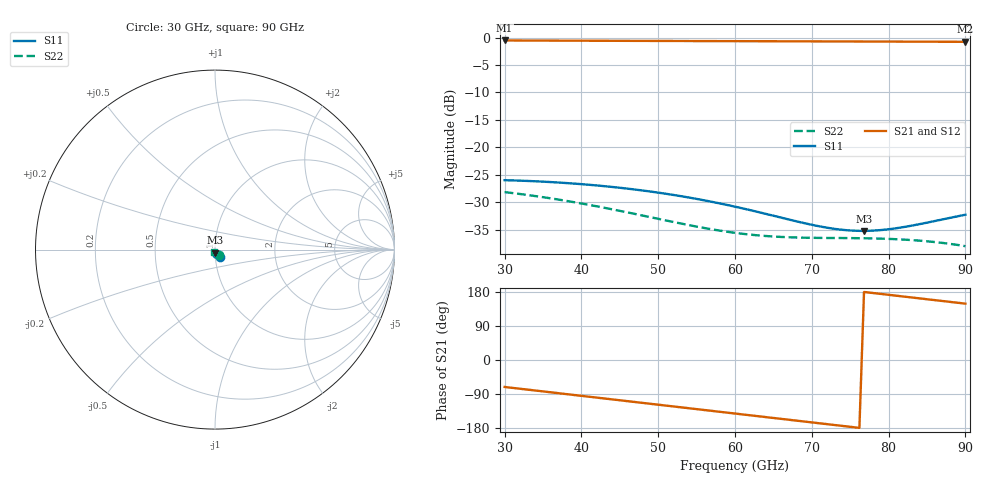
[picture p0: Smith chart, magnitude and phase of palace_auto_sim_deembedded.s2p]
! Created with skrf 1.11.0 (http://scikit-rf.org).
# GHz S DB R 50.0
!freq dBS11 angS11 dBS21 angS21 dBS12 angS12 dBS22 angS22
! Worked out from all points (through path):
!   101 points, 30 GHz to 90 GHz, reference 50 ohm
!   highest |S21| = -0.51 dB at 30 GHz (marker M1); lowest = -0.8 dB at 90 GHz (marker M2)
!   group delay of S21, straight-line fit = 6.49 ps
!   lowest |S11| = -35.2 dB at 76.8 GHz (marker M3), VSWR 1.04, Z = 50 - j1.73 ohm
!   |S11| at or under -10 dB: start of sweep to end of sweep
!   |S22| runs from -38.0 to -28.2 dB; largest |S21 - S12| = 1.1e-14
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30  -25.99 -57.5  -0.51 -71.2  -0.51 -71.2  -28.16 -54.0
33  -26.13 -64.3  -0.53 -78.2  -0.53 -78.2  -28.69 -60.1
35.4  -26.28 -69.6  -0.54 -83.8  -0.54 -83.8  -29.17 -64.8
37.8  -26.49 -74.8  -0.55 -89.4  -0.55 -89.4  -29.70 -69.1
40.2  -26.73 -79.7  -0.56 -95.0  -0.56 -95.0  -30.29 -73.1
42.6  -27.03 -84.5  -0.57 -100.6  -0.57 -100.6  -30.91 -76.7
45  -27.37 -89.0  -0.58 -106.3  -0.58 -106.3  -31.58 -79.9
47.4  -27.77 -93.3  -0.59 -111.9  -0.59 -111.9  -32.27 -82.6
50.4  -28.34 -98.2  -0.60 -118.9  -0.60 -118.9  -33.15 -85.1
55.2  -29.45 -104.8  -0.62 -130.1  -0.62 -130.1  -34.50 -87.2
60  -30.82 -109.1  -0.64 -141.3  -0.64 -141.3  -35.58 -87.1
63  -31.79 -110.2  -0.65 -148.3  -0.65 -148.3  -36.05 -86.5
65.4  -32.60 -109.8  -0.66 -153.9  -0.66 -153.9  -36.29 -86.2
67.8  -33.42 -108.1  -0.67 -159.5  -0.67 -159.5  -36.43 -86.4
70.2  -34.18 -104.9  -0.68 -165.1  -0.68 -165.1  -36.50 -87.1
73.8  -35.01 -97.3  -0.70 -173.5  -0.70 -173.5  -36.53 -89.6
76.8  -35.23 -89.4  -0.71 179.5  -0.71 179.5  -36.57 -93.1
78.6  -35.12 -84.6  -0.71 175.3  -0.71 175.3  -36.63 -95.7
80.4  -34.86 -80.3  -0.72 171.1  -0.72 171.1  -36.71 -98.8
82.8  -34.33 -75.5  -0.73 165.5  -0.73 165.5  -36.89 -103.5
85.2  -33.67 -72.1  -0.74 159.9  -0.74 159.9  -37.15 -108.8
90  -32.28 -68.9  -0.76 148.7  -0.76 148.7  -38.02 -121.7
